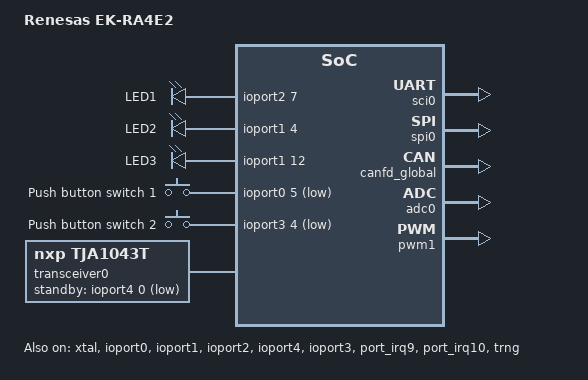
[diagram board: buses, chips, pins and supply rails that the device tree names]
/*
 * Copyright (c) 2024 Renesas Electronics Corporation
 * SPDX-License-Identifier: Apache-2.0
 */

/dts-v1/;

#include <renesas/ra/ra4/r7fa4e2b93cfm.dtsi>
#include <dt-bindings/gpio/gpio.h>
#include <dt-bindings/input/input-event-codes.h>
#include <zephyr/dt-bindings/adc/adc.h>
#include "ek_ra4e2-pinctrl.dtsi"

/ {
	model = "Renesas EK-RA4E2";
	compatible = "renesas,ra4e2", "renesas,ra";

	chosen {
		zephyr,sram = &sram0;
		zephyr,flash-controller = &flash1;
		zephyr,flash = &flash0;
		zephyr,console = &uart0;
		zephyr,shell-uart = &uart0;
		zephyr,canbus = &canfd0;
		zephyr,entropy = &trng;
	};

	leds {
		compatible = "gpio-leds";
		led1: led1 {
			gpios = <&ioport2 7 GPIO_ACTIVE_HIGH>;
			label = "LED1";
		};
		led2: led2 {
			gpios = <&ioport1 4 GPIO_ACTIVE_HIGH>;
			label = "LED2";
		};
		led3: led3 {
			gpios = <&ioport1 12 GPIO_ACTIVE_HIGH>;
			label = "LED3";
		};
	};

	buttons {
		compatible = "gpio-keys";
		button0: s1 {
			gpios = <&ioport0 5 (GPIO_PULL_UP | GPIO_ACTIVE_LOW)>;
			label = "Push button switch 1";
			zephyr,code = <INPUT_KEY_0>;
		};
		button1: s2 {
			gpios = <&ioport3 4 (GPIO_PULL_UP | GPIO_ACTIVE_LOW)>;
			label = "Push button switch 2";
			zephyr,code = <INPUT_KEY_1>;
		};
	};

	aliases {
		led0 = &led1;
		sw0 = &button0;
		sw1 = &button1;
	};

	transceiver0: can-phy0 {
		compatible = "nxp,tja1043t", "can-transceiver-gpio";
		standby-gpios = <&ioport4 0 GPIO_ACTIVE_LOW>;
		max-bitrate = <5000000>;
		#phy-cells = <0>;
	};
};

&xtal {
	clock-frequency = <DT_FREQ_M(20)>;
	mosel = <0>;
	#clock-cells = <0>;
	status = "okay";
};

&subclk {
	status = "okay";
};

&pll {
	clocks = <&xtal>;
	div = <1>;
	mul = <10 0>;
	status = "okay";
};

&sci0 {
	pinctrl-0 = <&sci0_default>;
	pinctrl-names = "default";
	status = "okay";
	uart0: uart {
		current-speed = <115200>;
		status = "okay";
	};
};

&ioport0 {
	status = "okay";
};

&ioport1 {
	status = "okay";
};

&ioport2 {
	status = "okay";
};

&spi0 {
	pinctrl-0 = <&spi0_default>;
	pinctrl-names = "default";
	status = "okay";
};

&ioport4 {
	status = "okay";
};

&canfdclk {
	clocks = <&pll>;
	div = <8>;
	status = "okay";
};

&canfd_global {
	status = "okay";
	canfd0 {
		pinctrl-0 = <&canfd0_default>;
		pinctrl-names = "default";
		phys = <&transceiver0>;
		rx-max-filters = <16>;
		status = "okay";
	};
};

&adc0 {
	status = "okay";
	pinctrl-0 = <&adc0_default>;
	pinctrl-names = "default";
};

&ioport3 {
	status = "okay";
};

&port_irq9 {
	interrupts = <4 12>;
	status = "okay";
};

&port_irq10 {
	interrupts = <5 12>;
	status = "okay";
};

&pwm1 {
	pinctrl-0 = <&pwm1_default>;
	pinctrl-names = "default";
	interrupts = <63 1>, <64 1>;
	interrupt-names = "gtioca", "overflow";
	divider = <RA_PWM_SOURCE_DIV_256>;
	status = "okay";
};

&trng {
	status = "okay";
};

&flash1 {
	partitions {
		compatible = "fixed-partitions";
		#address-cells = <1>;
		#size-cells = <1>;

		storage_partition: partition@0 {
			label = "storage";
			reg = <0X0 DT_SIZE_K(4)>;
		};
	};
};
